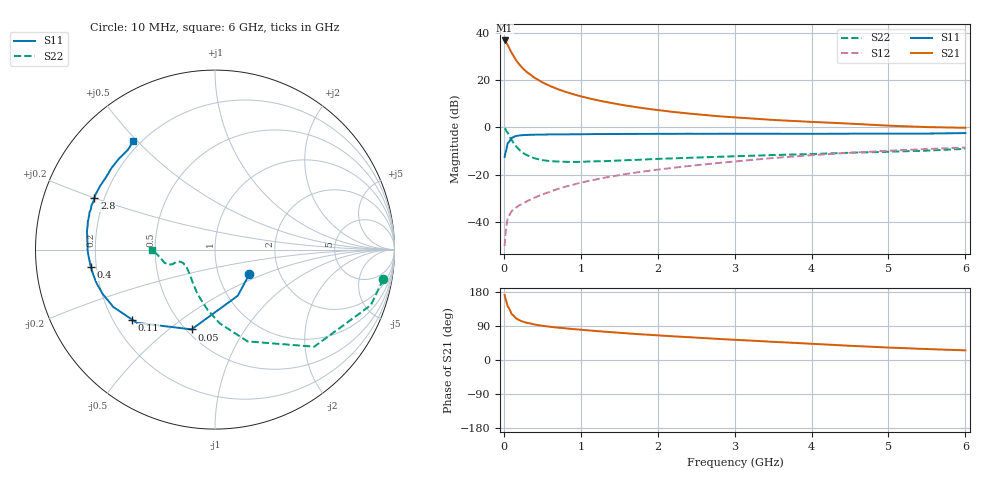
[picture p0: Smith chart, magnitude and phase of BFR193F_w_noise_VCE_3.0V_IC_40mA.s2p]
! (c) 2017  Infineon Technologies AG, Munich
! Infineon Technologies  Discrete & RF Semiconductors
! BFR193F
! VCE =  3.0 V,  IC =  40 mA
! Common Emitter S-Parameters:  Jan 2017
# GHz  S  MA  R  50
!  f  S11  S21  S12  S22
! GHz  MAG  ANG  MAG  ANG  MAG  ANG  MAG  ANG
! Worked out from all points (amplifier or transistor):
!   77 points, 10 MHz to 6 GHz, reference 50 ohm
!   highest |S21| = 36.7 dB at 10 MHz (marker M1)
!   |S21| within 3 dB of that: start of sweep to 67.2 MHz
!   unconditionally stable (mu >= 1): 878.9 MHz to 2.66 GHz
!   at 130 MHz: K = 0.46, MSG = 32.3 dB, |S12| = -34.6 dB
!   at 2.2 GHz: K = 1.02, MAG = 11.0 dB, |S12| = -17.1 dB
!   at 6 GHz: K = 0.88, MSG = 4.2 dB, |S12| = -8.5 dB
!   lowest NFmin = 1.34 dB at 450 MHz
!   S11 on the Smith chart (normalised r, x): 10 MHz: 1.40, -0.41; 50 MHz: 0.53, -0.60; 110 MHz: 0.28, -0.34; 400 MHz: 0.18, -0.07; 2.8 GHz: 0.16, +0.20; 6 GHz: 0.17, +0.49
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0.01  0.2352 -35.6  68.09 171.4  0.0031 86.0  0.9517 -10.0
0.02  0.2867 -63.7  66.04 162.4  0.0053 78.7  0.9219 -19.6
0.05  0.4634 -106.4  54.67 141.7  0.0119 62.8  0.7735 -44.4
0.1  0.5971 -136.9  37.62 121.5  0.0169 52.4  0.5425 -70.5
0.11  0.6049 -139.8  35.5 119.9  0.0175 51.9  0.5136 -73.0
0.15  0.6505 -150.6  27.41 111.3  0.0197 50.3  0.4112 -86.4
0.2  0.6723 -158.3  21.29 105.1  0.0226 51.8  0.3376 -97.1
0.25  0.6847 -163.7  17.29 101.0  0.0247 54.2  0.2874 -106.1
0.3  0.6905 -167.0  14.59 98.0  0.0276 55.7  0.259 -113.0
0.4  0.699 -172.0  11.06 93.5  0.0327 60.7  0.2215 -124.1
0.5  0.7024 -175.3  8.901 90.4  0.0382 62.9  0.2031 -132.0
0.6  0.7069 -177.8  7.459 87.7  0.0437 66.0  0.1934 -138.4
0.7  0.7104 179.9  6.407 85.5  0.0498 67.3  0.1894 -142.9
0.9  0.7129 176.4  5.007 81.6  0.0614 70.0  0.1861 -150.1
1.1  0.7168 173.5  4.113 78.1  0.0737 71.0  0.1897 -154.1
1.5  0.7228 168.8  3.047 71.9  0.0978 72.5  0.1996 -159.4
2.1  0.7283 162.8  2.214 63.8  0.1338 72.1  0.2182 -161.9
2.8  0.7308 156.8  1.71 55.5  0.1774 70.8  0.2392 -162.0
3.1  0.7325 154.2  1.582 52.3  0.1965 70.1  0.2476 -161.1
4.1  0.7295 145.4  1.28 41.8  0.2644 65.8  0.2762 -163.0
5.1  0.7367 135.5  1.068 32.1  0.326 59.9  0.3083 -171.4
6  0.756 127.0  0.978 25.4  0.375 54.5  0.3517 180.0
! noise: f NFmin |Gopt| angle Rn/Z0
0.45  1.34  0.43  179  0.06
0.9  1.42  0.44  180  0.07
1.9  1.98  0.59  -165  0.08
2.4  2.27  0.61  -157  0.13
